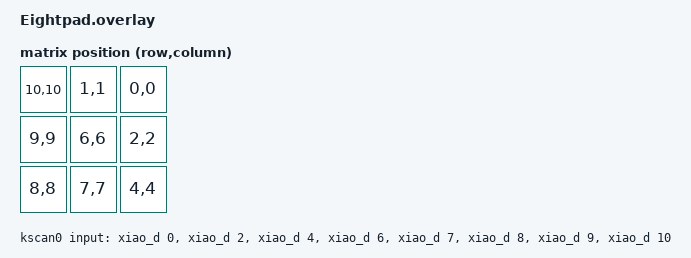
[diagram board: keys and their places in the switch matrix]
#include "Eightpad-layouts.dtsi"
#include <dt-bindings/zmk/matrix_transform.h>

/ {
    chosen {
        zmk,kscan = &kscan0;
        zmk,physical-layout = &physical_layout0;
    };

    kscan0: kscan {
        compatible = "zmk,kscan-gpio-direct";
        wakeup-source;

        input-gpios
            = <&xiao_d 0 (GPIO_ACTIVE_LOW | GPIO_PULL_UP)>,
            <&xiao_d 2 (GPIO_ACTIVE_LOW | GPIO_PULL_UP)>,
            <&xiao_d 4 (GPIO_ACTIVE_LOW | GPIO_PULL_UP)>,
            <&xiao_d 6 (GPIO_ACTIVE_LOW | GPIO_PULL_UP)>,
            <&xiao_d 7 (GPIO_ACTIVE_LOW | GPIO_PULL_UP)>,
            <&xiao_d 8 (GPIO_ACTIVE_LOW | GPIO_PULL_UP)>,
            <&xiao_d 9 (GPIO_ACTIVE_LOW | GPIO_PULL_UP)>,
            <&xiao_d 10 (GPIO_ACTIVE_LOW | GPIO_PULL_UP)>;
    };
};

/ {
    matrix_transform0: matrix_transform0 {
        compatible = "zmk,matrix-transform";
        columns = <11>;
        rows = <11>;
        map = <
        //   Key 1 | Key 2 | Key 3
            RC(10,10) RC(1,1) RC(0,0)
        //   Key 4 | Key 5 | Key 6
            RC(9,9) RC(6,6) RC(2,2)
        //   Key 7 | Key 8 | Key 9
            RC(8,8) RC(7,7) RC(4,4)
        >;
    };
};
